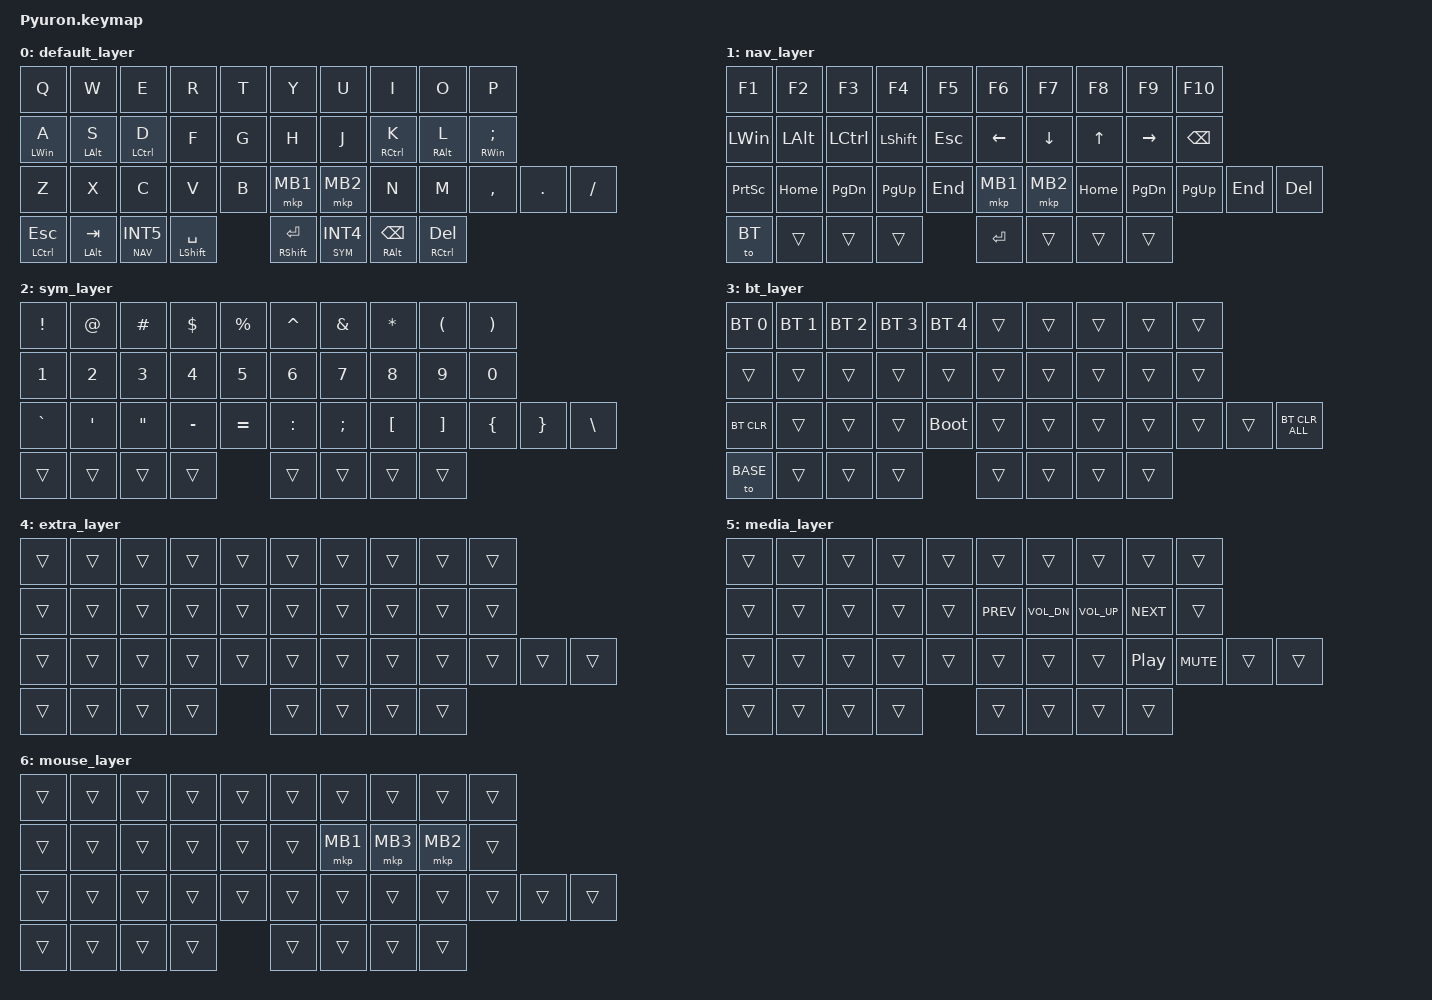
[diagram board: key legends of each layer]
#include <behaviors.dtsi>
#include <dt-bindings/zmk/bt.h>
#include <dt-bindings/zmk/keys.h>
#include <dt-bindings/zmk/pointing.h>

/*
 * Pyuron.keymap
 *
 * 方針:
 * - F/J には Shift を置かない
 * - Space 長押し = Left Shift
 * - Enter 長押し = Right Shift
 * - A/S/D, K/L/; だけホームロウMod
 * - 無変換 長押し = NAV
 * - 変換   長押し = SYM
 *
 * 注意:
 * - Pyuron の元レイアウトは 40 キー構成です。
 * - 以前のアスキーアートでは省略していた中央2キーには、
 *   トラックボール用として MB1 / MB2 を割り当てています。
 */

#define BASE  0
#define NAV   1
#define SYM   2
#define BT    3
#define EXTRA 4
#define MEDIA 5
#define MOUSE 6

&mt {
    flavor = "balanced";
    tapping-term-ms = <200>;
    quick-tap-ms = <125>;
    require-prior-idle-ms = <100>;
};

/ {
    combos {
        compatible = "zmk,combos";
    };

    behaviors {
        /*
         * ホームロウ・モディファイア
         * 例: &hm LCTRL D
         *     短押し D / 長押し Left Ctrl
         */
        hm: home_row_mods {
            compatible = "zmk,behavior-hold-tap";
            label = "HOME_ROW_MODS";
            #binding-cells = <2>;

            flavor = "balanced";
            tapping-term-ms = <220>;
            quick-tap-ms = <150>;
            require-prior-idle-ms = <125>;

            bindings = <&kp>, <&kp>;
        };

        /*
         * 親指用モディファイア
         * Space / Enter の Shift 化専用。
         */
        thm: thumb_mods {
            compatible = "zmk,behavior-hold-tap";
            label = "THUMB_MODS";
            #binding-cells = <2>;

            flavor = "balanced";
            tapping-term-ms = <200>;
            quick-tap-ms = <125>;
            require-prior-idle-ms = <100>;

            bindings = <&kp>, <&kp>;
        };
    };

    keymap {
        compatible = "zmk,keymap";

        /*
         * BASE レイヤー
         *
         * ┌────┬────┬────┬────┬────┐      ┌────┬────┬────┬────┬────┐
         * │ Q  │ W  │ E  │ R  │ T  │      │ Y  │ U  │ I  │ O  │ P  │
         * │A/W │S/A │D/C │ F  │ G  │      │ H  │ J  │K/C │L/A │;/W │
         * │ Z  │ X  │ C  │ V  │ B  │ MB1  │ MB2│ N  │ M  │ ,  │ .  │ / │
         * └────┴────┴────┴────┴────┘      └────┴────┴────┴────┴────┘
         *
         * 下段:
         * Esc/Ctrl, Tab/Alt, 無変換/NAV, Space/Shift,
         * Enter/Shift, 変換/SYM, Backspace/Alt, Delete/Ctrl
         */
        default_layer {
            bindings = <
                &kp Q        &kp W        &kp E        &kp R        &kp T        &kp Y        &kp U        &kp I        &kp O        &kp P

                &hm LWIN A   &hm LALT S   &hm LCTRL D  &kp F        &kp G        &kp H        &kp J        &hm RCTRL K  &hm RALT L   &hm RWIN SEMI

                &kp Z        &kp X        &kp C        &kp V        &kp B        &mkp MB1     &mkp MB2     &kp N        &kp M        &kp COMMA     &kp DOT      &kp SLASH

                &mt LCTRL ESC &mt LALT TAB &lt NAV INT5 &thm LSHFT SPACE &thm RSHFT ENTER &lt SYM INT4 &mt RALT BACKSPACE &mt RCTRL DELETE
            >;
        };

        /*
         * NAV レイヤー
         * 無変換 長押し
         */
        nav_layer {
            bindings = <
                &kp F1       &kp F2       &kp F3       &kp F4       &kp F5       &kp F6       &kp F7       &kp F8       &kp F9       &kp F10

                &kp LWIN     &kp LALT     &kp LCTRL    &kp LSHFT    &kp ESC      &kp LEFT     &kp DOWN     &kp UP       &kp RIGHT    &kp BACKSPACE

                &kp PSCRN    &kp HOME     &kp PG_DN    &kp PG_UP    &kp END      &mkp MB1     &mkp MB2     &kp HOME     &kp PG_DN    &kp PG_UP    &kp END      &kp DELETE

                &to BT       &trans       &trans       &trans       &kp ENTER    &trans       &trans       &trans
            >;
        };

        /*
         * SYM / NUM レイヤー
         * 変換 長押し
         */
        sym_layer {
            bindings = <
                &kp EXCL     &kp AT       &kp HASH     &kp DLLR     &kp PRCNT    &kp CARET    &kp AMPS     &kp ASTRK    &kp LPAR     &kp RPAR

                &kp N1       &kp N2       &kp N3       &kp N4       &kp N5       &kp N6       &kp N7       &kp N8       &kp N9       &kp N0

                &kp GRAVE    &kp SQT      &kp DQT      &kp MINUS    &kp EQUAL    &kp COLON    &kp SEMI     &kp LBKT     &kp RBKT     &kp LBRC     &kp RBRC     &kp BSLH

                &trans       &trans       &trans       &trans       &trans       &trans       &trans       &trans
            >;
        };

        /*
         * BT レイヤー
         * NAV レイヤー左下の &to BT から入る。
         * 左下の &to BASE で通常レイヤーへ戻る。
         */
        bt_layer {
            bindings = <
                &bt BT_SEL 0 &bt BT_SEL 1 &bt BT_SEL 2 &bt BT_SEL 3 &bt BT_SEL 4 &trans       &trans       &trans       &trans       &trans

                &trans       &trans       &trans       &trans       &trans       &trans       &trans       &trans       &trans       &trans

                &bt BT_CLR   &trans       &trans       &trans       &bootloader  &trans       &trans       &trans       &trans       &trans       &trans       &bt BT_CLR_ALL

                &to BASE     &trans       &trans       &trans       &trans       &trans       &trans       &trans
            >;
        };

        extra_layer {
            bindings = <
                &trans       &trans       &trans       &trans       &trans       &trans       &trans       &trans       &trans       &trans
                &trans       &trans       &trans       &trans       &trans       &trans       &trans       &trans       &trans       &trans
                &trans       &trans       &trans       &trans       &trans       &trans       &trans       &trans       &trans       &trans       &trans       &trans
                &trans       &trans       &trans       &trans       &trans       &trans       &trans       &trans
            >;
        };

        media_layer {
            bindings = <
                &trans       &trans       &trans       &trans       &trans       &trans       &trans       &trans       &trans       &trans
                &trans       &trans       &trans       &trans       &trans       &kp C_PREV   &kp C_VOL_DN &kp C_VOL_UP &kp C_NEXT   &trans
                &trans       &trans       &trans       &trans       &trans       &trans       &trans       &trans       &kp C_PP     &kp C_MUTE   &trans       &trans
                &trans       &trans       &trans       &trans       &trans       &trans       &trans       &trans
            >;
        };

        mouse_layer {
            bindings = <
                &trans       &trans       &trans       &trans       &trans       &trans       &trans       &trans       &trans       &trans
                &trans       &trans       &trans       &trans       &trans       &trans       &mkp MB1    &mkp MB3    &mkp MB2    &trans
                &trans       &trans       &trans       &trans       &trans       &trans       &trans       &trans       &trans       &trans       &trans       &trans
                &trans       &trans       &trans       &trans       &trans       &trans       &trans       &trans
            >;
        };
    };
};
